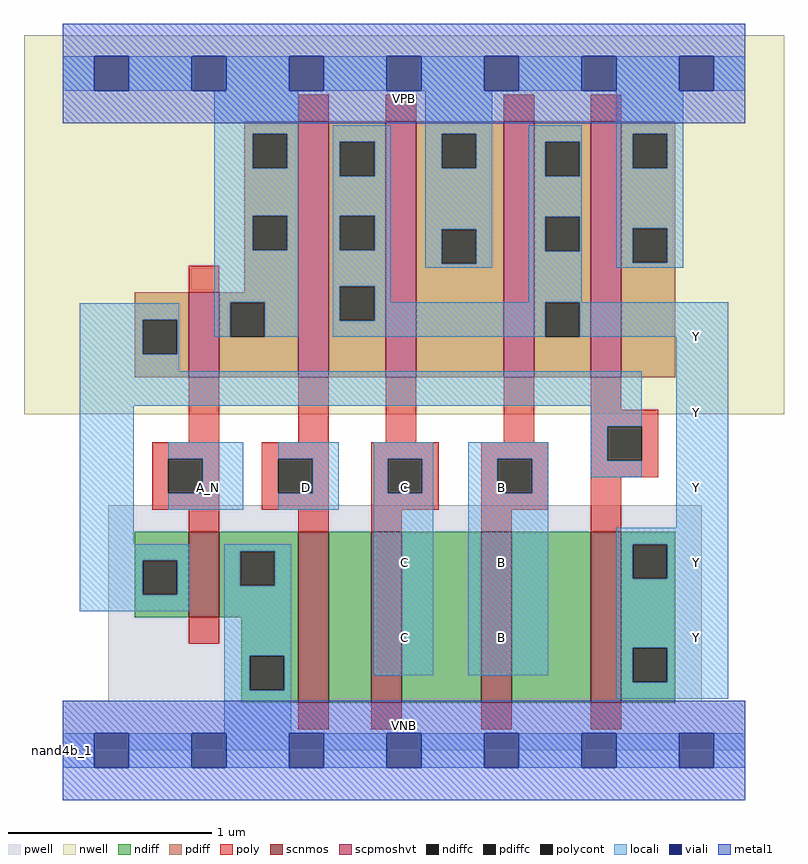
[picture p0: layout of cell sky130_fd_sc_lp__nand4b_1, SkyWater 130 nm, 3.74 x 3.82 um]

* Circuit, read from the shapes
.subckt sky130_fd_sc_lp__nand4b_1 A_N B C D VGND VNB VPB VPWR Y
XM1 VGND A_N n1 VNB sky130_fd_pr__nfet_01v8 w=0.42 l=0.15
XM2 n2 D VGND VNB sky130_fd_pr__nfet_01v8 w=0.84 l=0.15
XM3 n3 C n2 VNB sky130_fd_pr__nfet_01v8 w=0.84 l=0.15
XM4 n4 B n3 VNB sky130_fd_pr__nfet_01v8 w=0.84 l=0.15
XM5 Y n1 n4 VNB sky130_fd_pr__nfet_01v8 w=0.84 l=0.15
XM6 VPWR A_N n1 VPB sky130_fd_pr__pfet_01v8_hvt w=0.42 l=0.15
XM7 Y D VPWR VPB sky130_fd_pr__pfet_01v8_hvt w=1.26 l=0.15
XM8 VPWR C Y VPB sky130_fd_pr__pfet_01v8_hvt w=1.26 l=0.15
XM9 Y B VPWR VPB sky130_fd_pr__pfet_01v8_hvt w=1.26 l=0.15
XM10 VPWR n1 Y VPB sky130_fd_pr__pfet_01v8_hvt w=1.26 l=0.15
.ends

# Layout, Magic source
magic
tech sky130A
magscale 1 2
<< nwell >>
rect -38 331 710 704
<< pwell >>
rect 45 49 629 241
rect 0 0 672 49
<< scnmos >>
rect 124 131 154 215
rect 232 47 262 215
rect 304 47 334 215
rect 412 47 442 215
rect 520 47 550 215
<< scpmoshvt >>
rect 124 367 154 451
rect 232 367 262 619
rect 318 367 348 619
rect 434 367 464 619
rect 520 367 550 619
<< ndiff >>
rect 71 187 124 215
rect 71 153 79 187
rect 113 153 124 187
rect 71 131 124 153
rect 154 196 232 215
rect 154 162 175 196
rect 209 162 232 196
rect 154 131 232 162
rect 176 93 232 131
rect 176 59 184 93
rect 218 59 232 93
rect 176 47 232 59
rect 262 47 304 215
rect 334 47 412 215
rect 442 47 520 215
rect 550 203 603 215
rect 550 169 561 203
rect 595 169 603 203
rect 550 101 603 169
rect 550 67 561 101
rect 595 67 603 101
rect 550 47 603 67
<< pdiff >>
rect 179 607 232 619
rect 179 573 187 607
rect 221 573 232 607
rect 179 526 232 573
rect 179 492 187 526
rect 221 492 232 526
rect 179 451 232 492
rect 71 424 124 451
rect 71 390 79 424
rect 113 390 124 424
rect 71 367 124 390
rect 154 441 232 451
rect 154 407 165 441
rect 199 407 232 441
rect 154 367 232 407
rect 262 599 318 619
rect 262 565 273 599
rect 307 565 318 599
rect 262 526 318 565
rect 262 492 273 526
rect 307 492 318 526
rect 262 457 318 492
rect 262 423 273 457
rect 307 423 318 457
rect 262 367 318 423
rect 348 607 434 619
rect 348 573 373 607
rect 407 573 434 607
rect 348 513 434 573
rect 348 479 373 513
rect 407 479 434 513
rect 348 367 434 479
rect 464 599 520 619
rect 464 565 475 599
rect 509 565 520 599
rect 464 525 520 565
rect 464 491 475 525
rect 509 491 520 525
rect 464 441 520 491
rect 464 407 475 441
rect 509 407 520 441
rect 464 367 520 407
rect 550 607 603 619
rect 550 573 561 607
rect 595 573 603 607
rect 550 514 603 573
rect 550 480 561 514
rect 595 480 603 514
rect 550 367 603 480
<< ndiffc >>
rect 79 153 113 187
rect 175 162 209 196
rect 184 59 218 93
rect 561 169 595 203
rect 561 67 595 101
<< pdiffc >>
rect 187 573 221 607
rect 187 492 221 526
rect 79 390 113 424
rect 165 407 199 441
rect 273 565 307 599
rect 273 492 307 526
rect 273 423 307 457
rect 373 573 407 607
rect 373 479 407 513
rect 475 565 509 599
rect 475 491 509 525
rect 475 407 509 441
rect 561 573 595 607
rect 561 480 595 514
<< poly >>
rect 232 619 262 645
rect 318 619 348 645
rect 434 619 464 645
rect 520 619 550 645
rect 124 451 154 477
rect 124 303 154 367
rect 232 303 262 367
rect 318 303 348 367
rect 434 303 464 367
rect 520 335 550 367
rect 520 319 586 335
rect 88 287 154 303
rect 88 253 104 287
rect 138 253 154 287
rect 88 237 154 253
rect 196 287 262 303
rect 196 253 212 287
rect 246 253 262 287
rect 196 237 262 253
rect 124 215 154 237
rect 232 215 262 237
rect 304 287 370 303
rect 304 253 320 287
rect 354 253 370 287
rect 304 237 370 253
rect 412 287 478 303
rect 412 253 428 287
rect 462 253 478 287
rect 412 237 478 253
rect 520 285 536 319
rect 570 285 586 319
rect 520 269 586 285
rect 304 215 334 237
rect 412 215 442 237
rect 520 215 550 269
rect 124 105 154 131
rect 232 21 262 47
rect 304 21 334 47
rect 412 21 442 47
rect 520 21 550 47
<< polycont >>
rect 104 253 138 287
rect 212 253 246 287
rect 320 253 354 287
rect 428 253 462 287
rect 536 285 570 319
<< locali >>
rect 0 649 31 683
rect 65 649 127 683
rect 161 649 223 683
rect 257 649 319 683
rect 353 649 415 683
rect 449 649 511 683
rect 545 649 607 683
rect 641 649 672 683
rect 149 607 232 649
rect 149 573 187 607
rect 221 573 232 607
rect 149 526 232 573
rect 149 492 187 526
rect 221 492 232 526
rect 149 441 232 492
rect 17 424 115 440
rect 17 390 79 424
rect 113 390 115 424
rect 149 407 165 441
rect 199 407 232 441
rect 266 599 323 615
rect 266 565 273 599
rect 307 565 323 599
rect 266 526 323 565
rect 266 492 273 526
rect 307 492 323 526
rect 266 457 323 492
rect 357 607 423 649
rect 357 573 373 607
rect 407 573 423 607
rect 357 513 423 573
rect 357 479 373 513
rect 407 479 423 513
rect 357 475 423 479
rect 459 599 511 615
rect 459 565 475 599
rect 509 565 511 599
rect 459 525 511 565
rect 459 491 475 525
rect 509 491 511 525
rect 266 423 273 457
rect 307 441 323 457
rect 459 441 511 491
rect 545 607 611 649
rect 545 573 561 607
rect 595 573 611 607
rect 545 514 611 573
rect 545 480 561 514
rect 595 480 611 514
rect 545 475 611 480
rect 307 423 475 441
rect 266 407 475 423
rect 509 407 655 441
rect 17 373 115 390
rect 17 339 570 373
rect 17 203 70 339
rect 520 319 570 339
rect 104 287 178 303
rect 138 253 178 287
rect 104 237 178 253
rect 212 287 272 303
rect 246 253 272 287
rect 212 237 272 253
rect 306 287 365 303
rect 306 253 320 287
rect 354 253 365 287
rect 17 187 125 203
rect 17 153 79 187
rect 113 153 125 187
rect 17 137 125 153
rect 159 196 225 203
rect 159 162 175 196
rect 209 162 225 196
rect 159 93 225 162
rect 159 59 184 93
rect 218 59 225 93
rect 306 74 365 253
rect 399 287 478 303
rect 399 253 428 287
rect 462 253 478 287
rect 520 285 536 319
rect 520 269 570 285
rect 399 74 478 253
rect 604 219 655 407
rect 545 203 655 219
rect 545 169 561 203
rect 595 169 655 203
rect 545 101 655 169
rect 159 17 225 59
rect 545 67 561 101
rect 595 67 655 101
rect 545 51 655 67
rect 0 -17 31 17
rect 65 -17 127 17
rect 161 -17 223 17
rect 257 -17 319 17
rect 353 -17 415 17
rect 449 -17 511 17
rect 545 -17 607 17
rect 641 -17 672 17
<< viali >>
rect 31 649 65 683
rect 127 649 161 683
rect 223 649 257 683
rect 319 649 353 683
rect 415 649 449 683
rect 511 649 545 683
rect 607 649 641 683
rect 31 -17 65 17
rect 127 -17 161 17
rect 223 -17 257 17
rect 319 -17 353 17
rect 415 -17 449 17
rect 511 -17 545 17
rect 607 -17 641 17
<< metal1 >>
rect 0 683 672 715
rect 0 649 31 683
rect 65 649 127 683
rect 161 649 223 683
rect 257 649 319 683
rect 353 649 415 683
rect 449 649 511 683
rect 545 649 607 683
rect 641 649 672 683
rect 0 617 672 649
rect 0 17 672 49
rect 0 -17 31 17
rect 65 -17 127 17
rect 161 -17 223 17
rect 257 -17 319 17
rect 353 -17 415 17
rect 449 -17 511 17
rect 545 -17 607 17
rect 641 -17 672 17
rect 0 -49 672 -17
<< labels >>
flabel pwell s 0 0 672 49 0 FreeSans 200 0 0 0 VNB
port 6 nsew ground bidirectional
flabel nwell s 0 617 672 666 0 FreeSans 200 0 0 0 VPB
port 7 nsew power bidirectional
rlabel comment s 0 0 0 0 4 nand4b_1
flabel metal1 s 0 617 672 666 0 FreeSans 340 0 0 0 VPWR
port 8 nsew power bidirectional
flabel metal1 s 0 0 672 49 0 FreeSans 340 0 0 0 VGND
port 5 nsew ground bidirectional
flabel locali s 415 94 449 128 0 FreeSans 340 0 0 0 B
port 2 nsew signal input
flabel locali s 415 168 449 202 0 FreeSans 340 0 0 0 B
port 2 nsew signal input
flabel locali s 415 242 449 276 0 FreeSans 340 0 0 0 B
port 2 nsew signal input
flabel locali s 319 94 353 128 0 FreeSans 340 0 0 0 C
port 3 nsew signal input
flabel locali s 319 168 353 202 0 FreeSans 340 0 0 0 C
port 3 nsew signal input
flabel locali s 319 242 353 276 0 FreeSans 340 0 0 0 C
port 3 nsew signal input
flabel locali s 223 242 257 276 0 FreeSans 340 0 0 0 D
port 4 nsew signal input
flabel locali s 127 242 161 276 0 FreeSans 340 0 0 0 A_N
port 1 nsew signal input
flabel locali s 607 316 641 350 0 FreeSans 340 0 0 0 Y
port 9 nsew signal output
flabel locali s 607 390 641 424 0 FreeSans 340 0 0 0 Y
port 9 nsew signal output
flabel locali s 607 94 641 128 0 FreeSans 340 0 0 0 Y
port 9 nsew signal output
flabel locali s 607 168 641 202 0 FreeSans 340 0 0 0 Y
port 9 nsew signal output
flabel locali s 607 242 641 276 0 FreeSans 340 0 0 0 Y
port 9 nsew signal output
<< properties >>
string LEFsite unit
string LEFclass CORE
string FIXED_BBOX 0 0 672 666
string GDS_FILE $PDKPATH/libs.ref/sky130_fd_sc_lp/gds/sky130_fd_sc_lp.gds
string LEFsymmetry X Y R90
string GDS_END 768656
string GDS_START 761898
<< end >>
